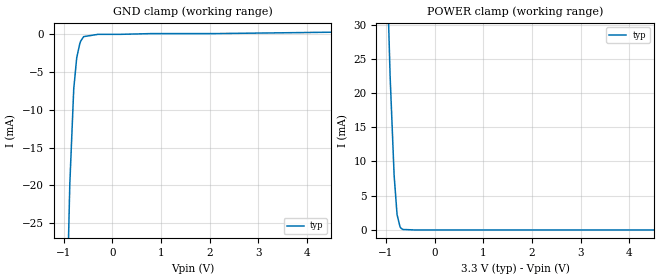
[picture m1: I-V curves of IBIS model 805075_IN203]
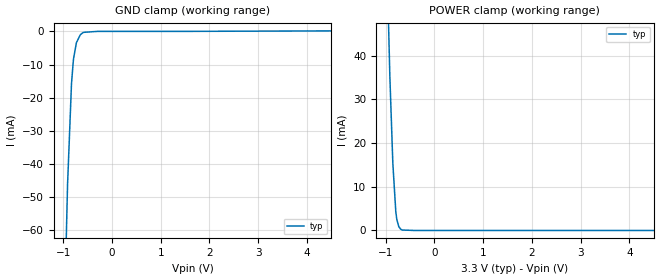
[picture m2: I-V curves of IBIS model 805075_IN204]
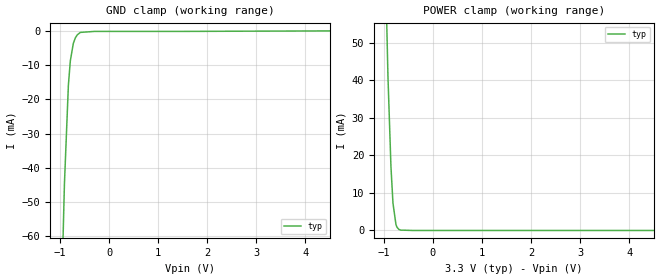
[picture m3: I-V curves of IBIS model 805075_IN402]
| COPYRIGHT(C) MENTOR GRAPHICS CORPORATION 2001 ALL
| RIGHTS RESERVED. THIS WORK CONTAINS PROPRIETARY
| INFORMATION WHICH IS THE PROPERTY OF MENTOR GRAPHICS
| CORPORATION OR ITS LICENSORS. USE OF THESE MATERIALS
| IS SUBJECT TO THE TERMS BELOW.
| USE: YOU MAY USE IBIS MODELS SOLELY FOR DEVELOPING
| PRINTED CIRCUIT BOARD DESIGNS. NO OTHER USE OR
| DISTRIBUTION OF THESE MATERIALS IS PERMITTED.
| DISCLAIMER OF WARRANTY:  UNLESS OTHERWISE AGREED
| IN WRITING, MENTOR GRAPHICS SOFTWARE AND ASSOCIATED
| FILES ARE PROVIDED "AS IS" AND WITHOUT WARRANTY.
| MENTOR GRAPHICS HAS NO OBLIGATION TO SUPPORT OR
| OTHERWISE MAINTAIN SOFTWARE.  MENTOR GRAPHICS MAKES
| NO WARRANTIES, EXPRESS OR IMPLIED WITH RESPECT TO
| SOFTWARE INCLUDING ANY WARRANTY OF MERCHANTABILITY
| OR FITNESS FOR A PARTICULAR PURPOSE.
| LIMITATION OF LIABILITY:  MENTOR GRAPHICS IS NOT LIABLE FOR
| ANY PROPERTY DAMAGE, PERSONAL INJURY, LOSS OF PROFITS,
| INTERRUPTION OF BUSINESS, OR FOR ANY OTHER SPECIAL,
| CONSEQUENTIAL OR INCIDENTAL DAMAGES, HOWEVER CAUSED,
| WHETHER FOR BREACH OF WARRANTY, CONTRACT, TORT
| (INCLUDING NEGLIGENCE), STRICT LIABILITY OR OTHERWISE. IN NO
| EVENT SHALL MENTOR GRAPHICS' LIABILITY EXCEED THE AMOUNT
| PAID FOR THE PRODUCT GIVING RISE TO THE CLAIM.
| TRADEMARKS:  THE FOLLOWING ARE REGISTERED TRADEMARKS
| OR SERVICE MARKS OF MENTOR GRAPHICS CORPORATION:
| ICX, ICX STANDARD LIBRARY, ICX PROJECT MODELING,
| AND ICX CUSTOM MODELING.  THE FOLLOWING ARE TRADEMARKS
| OR SERVICE MARKS OF MENTOR GRAPHICS CORPORATION:
| QUALITYIBIS, MODELVIEWER, AND MODELEDITOR. ALL OTHER
| BRANDS AND PRODUCT NAMES ARE TRADEMARKS OF THEIR
| RESPECTIVE OWNERS.
| COPIES:  ALL COPIES OF SOFTWARE, INCLUDING BUT NOT LIMITED
| TO ANY MODIFICATIONS, ENHANCEMENTS OR DERIVATIVE WORKS
| MUST CONTAIN ALL MENTOR GRAPHICS' NOTICES AND LEGENDS,
| INCLUDING THOSE EMBEDDED IN SOFTWARE AND THOSE AFFIXED
| TO THE SOFTWARE MEDIUM AND CONTAINER, AS RECEIVED FROM
| MENTOR GRAPHICS.
[IBIS Ver] 3.1
[File Name] nbsg111ba_33v.ibs
[File Rev] 2.0
[Source] Measured and created by ICX Technology
[Date] Wednesday 1/16/02 9:10:01 AM
[Copyright]
| COPYRIGHT(C) MENTOR GRAPHICS CORPORATION 2001 ALL
| RIGHTS RESERVED. THIS WORK CONTAINS PROPRIETARY
| INFORMATION WHICH IS THE PROPERTY OF MENTOR GRAPHICS
| CORPORATION OR ITS LICENSORS. USE OF THESE MATERIALS
| IS SUBJECT TO THE TERMS BELOW.
| USE: YOU MAY USE IBIS MODELS SOLELY FOR DEVELOPING
| PRINTED CIRCUIT BOARD DESIGNS. NO OTHER USE OR
| DISTRIBUTION OF THESE MATERIALS IS PERMITTED.
|  ZAP Model Builder 3.2
[Component] _NBSG111BA_33v
[Manufacturer] OnSemiconductor
[Package]
| variable   typ   min   max
R_pkg  .162ohms NA NA
L_pkg  1.728nH NA NA
C_pkg  1.114pF NA NA
[Pin] signal_name  model_name  R_pin  L_pin C_pin
A1 VEE GND .153 1.78n 1.148p
A2 _Q9 805075_OUT301 .149 1.726n 1.113p
A3 Q9 805075_OUT201 .144 1.675n 1.08p
A4 _Q8 805075_OUT301 .144 1.675n 1.08p
A5 Q8 805075_OUT201 .149 1.726n 1.113p
A6 _Q7 805075_OUT301 .153 1.78n 1.148p
A7 VEE GND .163 1.78n 1.148p
B1 Q0 805075_OUT201 .158 1.726n 1.113p
B2 VMM NC .153 1.675n 1.08p
B3 _CLK1 805075_IN203 .153 1.675n 1.08p
B4 CLK1 805075_IN204 .158 1.726n 1.113p
B5 VCC POWER .163 1.78n 1.148p
B6 NC NC .172 1.78n 1.148p
B7 Q7 805075_OUT201 .167 1.726n 1.113p
C1 _Q0 805075_OUT301 .162 1.675n 1.08p
C2 VEE GND .162 1.675n 1.08p
C3 _VTCLK1 805075_IN505 .167 1.726n 1.113p
C4 VTCLK1 805075_IN504 .172 1.78n 1.148p
C5 _VTSEL 805075_IN505 .182 1.78n 1.148p
C6 _SEL 805075_IN504 .177 1.726n 1.113p
C7 _Q6 805075_OUT301 .171 1.675n 1.08p
D1 Q1 805075_OUT201 .171 1.675n 1.08p
D2 EN 805075_IN402 .177 1.726n 1.113p
D3 VTEN 805075_IN402 .182 1.78n 1.148p
D4 VCC POWER .182 1.78n 1.148p
D5 VTSEL 805075_IN505 .177 1.726n 1.113p
D6 SEL 805075_IN504 .171 1.675n 1.08p
D7 Q6 805075_OUT201 .171 1.675n 1.08p
E1 _Q1 805075_OUT301 .177 1.726n 1.113p
E2 _EN 805075_IN402 .182 1.78n 1.148p
E3 _VTEN 805075_IN402 .172 1.78n 1.148p
E4 VTCLK0 805075_IN504 .167 1.726n 1.113p
E5 _VTCLK0 805075_IN505 .162 1.675n 1.08p
E6 VEE GND .162 1.675n 1.08p
E7 _Q5 805075_OUT301 .167 1.726n 1.113p
F1 Q2 805075_OUT201 .172 1.78n 1.148p
F2 NC NC .163 1.78n 1.148p
F3 VCC POWER .158 1.726n 1.113p
F4 CLK0 805075_IN604 .153 1.675n 1.08p
F5 _CLK0 805075_IN605 .153 1.675n 1.08p
F6 VBB NC .158 1.726n 1.113p
F7 Q5 805075_OUT201 .163 1.78n 1.148p
G1 VEE GND .153 1.78n 1.148p
G2 _Q2 805075_OUT301 .149 1.726n 1.113p
G3 Q3 805075_OUT201 .144 1.675n 1.08p
G4 _Q3 805075_OUT301 .144 1.675n 1.08p
G5 Q4 805075_OUT201 .149 1.726n 1.113p
G6 _Q4 805075_OUT301 .153 1.78n 1.148p
G7 VEE GND .153 1.78n 1.148p
| Models and submodels in the file (9): 805075_IN203 (Input), 805075_IN204 (Input), 805075_IN402 (Input), 805075_IN504 (Input), 805075_IN505 (Input), 805075_IN604 (Input), 805075_IN605 (Input), 805075_OUT201 (Output_ECL), 805075_OUT301 (Output_ECL)
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| COPYRIGHT(C) MENTOR GRAPHICS CORPORATION 2001 ALL
| RIGHTS RESERVED. THIS WORK CONTAINS PROPRIETARY
| INFORMATION WHICH IS THE PROPERTY OF MENTOR GRAPHICS
| CORPORATION OR ITS LICENSORS. USE OF THESE MATERIALS
| IS SUBJECT TO THE TERMS BELOW.
| USE: YOU MAY USE IBIS MODELS SOLELY FOR DEVELOPING
| PRINTED CIRCUIT BOARD DESIGNS. NO OTHER USE OR
| DISTRIBUTION OF THESE MATERIALS IS PERMITTED.
| Model Application Version 1.89 2/18/99.
[Model] 805075_IN203
Model_type Input
Vinl = 800.0mV
Vinh = 2.000V
C_comp 500.0fF NA NA
| variable typ   min   max
[Voltage Range] 3.300V NA NA
[GND Clamp Reference] 0.000V NA NA
[POWER Clamp Reference] 3.300V NA NA
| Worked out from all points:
|   GND clamp passes 1 mA (typ) near -0.65 V on its own axis
|   POWER clamp passes 1 mA (typ) near -0.73 V on its own axis
[GND Clamp]
-3.3V     -888.9mA   NA         NA
-1.115V   -86.3mA    NA         NA
-872mV    -19.9mA    NA         NA
-791mV    -7.3mA     NA         NA
-730mV    -3.2mA     NA         NA
-669mV    -1.4mA     NA         NA
-649mV    -1mA       NA         NA
-588mV    -400uA     NA         NA
-294mV    -100uA     NA         NA
6.6V      342.9uA    NA         NA
[POWER Clamp]
-3.3V     718.8mA    NA         NA
-1.199V   92.12mA    NA         NA
-916mV    22.34mA    NA         NA
-834mV    7.946mA    NA         NA
-774mV    2.25mA     NA         NA
-713mV    455uA      NA         NA
-652mV    62.82uA    NA         NA
6.6V      0A         NA         NA
| COPYRIGHT(C) MENTOR GRAPHICS CORPORATION 2001 ALL
| RIGHTS RESERVED. THIS WORK CONTAINS PROPRIETARY
| INFORMATION WHICH IS THE PROPERTY OF MENTOR GRAPHICS
| CORPORATION OR ITS LICENSORS. USE OF THESE MATERIALS
| IS SUBJECT TO THE TERMS BELOW.
| USE: YOU MAY USE IBIS MODELS SOLELY FOR DEVELOPING
| PRINTED CIRCUIT BOARD DESIGNS. NO OTHER USE OR
| DISTRIBUTION OF THESE MATERIALS IS PERMITTED.
| Model Application Version 1.89 2/18/99.
[Model] 805075_IN204
Model_type Input
Vinl = 800.0mV
Vinh = 2.000V
C_comp 500.0fF NA NA
| variable typ   min   max
[Voltage Range] 3.300V NA NA
[GND Clamp Reference] 0.000V NA NA
[POWER Clamp Reference] 3.300V NA NA
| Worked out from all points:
|   GND clamp passes 1 mA (typ) near -0.65 V on its own axis
|   POWER clamp passes 1 mA (typ) near -0.74 V on its own axis
[GND Clamp]
-3.3V     -1.799A    NA         NA
-1.034V   -120.7mA   NA         NA
-912mV    -46.2mA    NA         NA
-831mV    -15.7mA    NA         NA
-791mV    -8.4mA     NA         NA
-730mV    -3.4mA     NA         NA
-649mV    -1mA       NA         NA
-588mV    -300uA     NA         NA
-294mV    0A         NA         NA
1.53V     0A         NA         NA
6.6V      248.9uA    NA         NA
[POWER Clamp]
-3.3V     1.253A     NA         NA
-1.078V   106.9mA    NA         NA
-916mV    35.17mA    NA         NA
-855mV    15.37mA    NA         NA
-794mV    4.274mA    NA         NA
-774mV    2.575mA    NA         NA
-733mV    877.1uA    NA         NA
-693mV    279.1uA    NA         NA
-652.5mV  83.06uA    NA         NA
-612mV    83.06uA    NA         NA
-408mV    0A         NA         NA
6.6V      0A         NA         NA
| COPYRIGHT(C) MENTOR GRAPHICS CORPORATION 2001 ALL
| RIGHTS RESERVED. THIS WORK CONTAINS PROPRIETARY
| INFORMATION WHICH IS THE PROPERTY OF MENTOR GRAPHICS
| CORPORATION OR ITS LICENSORS. USE OF THESE MATERIALS
| IS SUBJECT TO THE TERMS BELOW.
| USE: YOU MAY USE IBIS MODELS SOLELY FOR DEVELOPING
| PRINTED CIRCUIT BOARD DESIGNS. NO OTHER USE OR
| DISTRIBUTION OF THESE MATERIALS IS PERMITTED.
| Model Application Version 1.89 2/18/99.
[Model] 805075_IN402
Model_type Input
Vinl = 800.0mV
Vinh = 2.000V
C_comp 500.0fF NA NA
| variable typ   min   max
[Voltage Range] 3.300V NA NA
[GND Clamp Reference] 0.000V NA NA
[POWER Clamp Reference] 3.300V NA NA
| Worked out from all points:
|   GND clamp passes 1 mA (typ) near -0.65 V on its own axis
|   POWER clamp passes 1 mA (typ) near -0.74 V on its own axis
[GND Clamp]
-3.3V     -1.667A    NA         NA
-1.034V   -114.5mA   NA         NA
-912mV    -45mA      NA         NA
-831mV    -15.8mA    NA         NA
-791mV    -8.6mA     NA         NA
-730mV    -3.5mA     NA         NA
-689mV    -1.9mA     NA         NA
-649mV    -1mA       NA         NA
-588mV    -300uA     NA         NA
-294mV    0A         NA         NA
1.53V     0A         NA         NA
6.6V      248.9uA    NA         NA
[POWER Clamp]
-3.3V     1.662A     NA         NA
-1.078V   132.9mA    NA         NA
-916mV    40.97mA    NA         NA
-855mV    16.97mA    NA         NA
-814mV    7.273mA    NA         NA
-753mV    1.576mA    NA         NA
-733mV    877.1uA    NA         NA
-693mV    279.1uA    NA         NA
-652.5mV  83.06uA    NA         NA
-612mV    83.06uA    NA         NA
-408mV    0A         NA         NA
6.6V      0A         NA         NA
